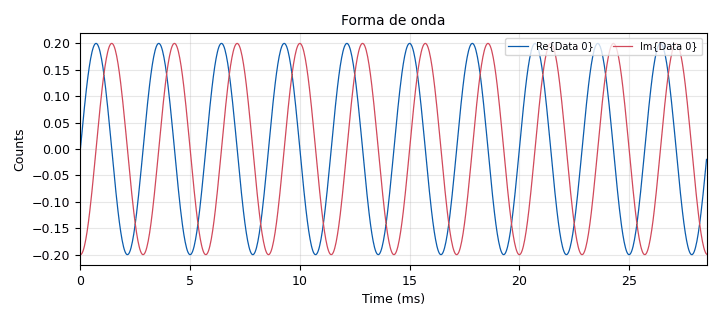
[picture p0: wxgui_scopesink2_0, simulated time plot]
<?xml version='1.0' encoding='utf-8'?>
<flow_graph>
<block>
<key>options</key>
<param><key>id</key><value>dial_tone</value></param>
<param><key>title</key><value>Tono llamada</value></param>
<param><key>generate_options</key><value>wx_gui</value></param>
<param><key>category</key><value>Custom</value></param>
</block>
<block>
<key>variable</key>
<param><key>id</key><value>samp_rate</value></param>
<param><key>value</key><value>32000</value></param>
</block>
<block>
<key>variable_slider</key>
<param><key>id</key><value>f1</value></param>
<param><key>label</key><value>Frecuencia tono 1Hz</value></param>
<param><key>value</key><value>350</value></param>
<param><key>min</key><value>0</value></param>
<param><key>max</key><value>1000</value></param>
<param><key>num_steps</key><value>100</value></param>
<param><key>style</key><value>wx.SL_HORIZONTAL</value></param>
<param><key>converver</key><value>float_converter</value></param>
<param><key>grid_pos</key><value>0,0,1,2</value></param>
</block>
<block>
<key>variable_slider</key>
<param><key>id</key><value>f2</value></param>
<param><key>label</key><value>Frecuencia tono 1Hz</value></param>
<param><key>value</key><value>350</value></param>
<param><key>min</key><value>0</value></param>
<param><key>max</key><value>1000</value></param>
<param><key>num_steps</key><value>100</value></param>
<param><key>style</key><value>wx.SL_HORIZONTAL</value></param>
<param><key>converver</key><value>float_converter</value></param>
<param><key>grid_pos</key><value>3,0,1,2</value></param>
</block>
<block>
<key>variable_slider</key>
<param><key>id</key><value>A1</value></param>
<param><key>label</key><value>Amplitud tono 1</value></param>
<param><key>value</key><value>0.100</value></param>
<param><key>min</key><value>0</value></param>
<param><key>max</key><value>1</value></param>
<param><key>num_steps</key><value>1</value></param>
<param><key>style</key><value>wx.SL_HORIZONTAL</value></param>
<param><key>converver</key><value>float_converter</value></param>
<param><key>grid_pos</key><value>1,0,1,2</value></param>
</block>
<block>
<key>variable_slider</key>
<param><key>id</key><value>A2</value></param>
<param><key>label</key><value>Amplitud tono 1</value></param>
<param><key>value</key><value>0.100</value></param>
<param><key>min</key><value>0</value></param>
<param><key>max</key><value>1</value></param>
<param><key>num_steps</key><value>1</value></param>
<param><key>style</key><value>wx.SL_HORIZONTAL</value></param>
<param><key>converver</key><value>float_converter</value></param>
<param><key>grid_pos</key><value>4,0,1,2</value></param>
</block>
<block>
<key>blocks_add_xx</key>
<param><key>id</key><value>blocks_add_xx_0</value></param>
<param><key>type</key><value>complex</value></param>
</block>
<block>
<key>analog_sig_source_x</key>
<param><key>id</key><value>analog_sig_source_x_0</value></param>
<param><key>type</key><value>complex</value></param>
<param><key>samp_rate</key><value>samp_rate</value></param>
<param><key>waveform</key><value>analog.GR_COS_WAVE</value></param>
<param><key>freq</key><value>f1</value></param>
<param><key>amp</key><value>A1</value></param>
<param><key>offset</key><value>0</value></param>
</block>
<block>
<key>analog_sig_source_x</key>
<param><key>id</key><value>analog_sig_source_x_0_0</value></param>
<param><key>type</key><value>complex</value></param>
<param><key>samp_rate</key><value>samp_rate</value></param>
<param><key>waveform</key><value>analog.GR_COS_WAVE</value></param>
<param><key>freq</key><value>f2</value></param>
<param><key>amp</key><value>A2</value></param>
<param><key>offset</key><value>0</value></param>
</block>
<block>
<key>wxgui_scopesink2</key>
<param><key>id</key><value>wxgui_scopesink2_0</value></param>
<param><key>type</key><value>complex</value></param>
<param><key>title</key><value>Forma de onda</value></param>
<param><key>samp_rate</key><value>samp_rate</value></param>
<param><key>v_scale</key><value>0</value></param>
<param><key>v_offset</key><value>0</value></param>
<param><key>t_scale</key><value>0</value></param>
<param><key>ac_couple</key><value>False</value></param>
<param><key>xy_mode</key><value>False</value></param>
<param><key>num_inputs</key><value>1</value></param>
<param><key>trig_mode</key><value>wxgui.TRIG_MODE_AUTO</value></param>
<param><key>y_axis_label</key><value>Counts</value></param>
</block>
<connection><source_block_id>analog_sig_source_x_0</source_block_id><sink_block_id>blocks_add_xx_0</sink_block_id><source_key>0</source_key><sink_key>0</sink_key></connection>
<connection><source_block_id>analog_sig_source_x_0_0</source_block_id><sink_block_id>blocks_add_xx_0</sink_block_id><source_key>0</source_key><sink_key>1</sink_key></connection>
<connection><source_block_id>blocks_add_xx_0</source_block_id><sink_block_id>wxgui_scopesink2_0</sink_block_id><source_key>0</source_key><sink_key>0</sink_key></connection>
</flow_graph>
